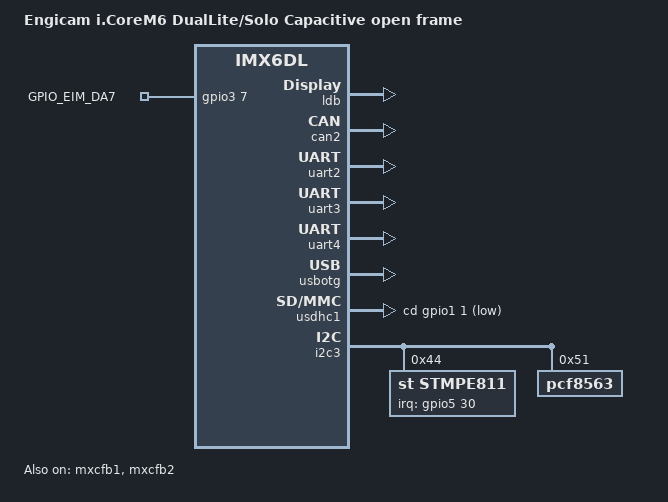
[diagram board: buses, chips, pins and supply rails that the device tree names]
/*
 * Copyright (C) 2013 Freescale Semiconductor, Inc.
 *
 * This program is free software; you can redistribute it and/or modify
 * it under the terms of the GNU General Public License version 2 as
 * published by the Free Software Foundation.
 */

/dts-v1/;

#include "imx6dl.dtsi"
#include "imx6qdl-icore.dtsi"

/ {
	model = "Engicam i.CoreM6 DualLite/Solo Capacitive open frame";
	compatible = "fsl,imx6-icore", "fsl,imx6dl";

	gpio_export {
		compatible = "gpio-export";
		#size-cells = <0>;
		
		GPIO_EIM_DA7 {
			gpio-export,name = "GPIO_EIM_DA7";
			gpio-export,input = <1>;
			gpios = <&gpio3 7 0>;
		};				
	};

	codec: codec {
		status = "disabled";
	};
};

&ldb {
	status = "okay";

	lvds-channel@0 {
		fsl,data-mapping = "spwg";
		fsl,data-width = <18>;
		status = "okay";
		crtc = "ipu1-di0";
		primary;

		display-timings {
                        native-mode = <&timing1>;
                        timing1: hsd100pxn1 {
                                clock-frequency = <60000000>;
                                hactive = <1024>;
                                vactive = <600>;
                                hback-porch = <353>;
                                hfront-porch = <47>;
                                vback-porch = <39>;
                                vfront-porch = <4>;
                                hsync-len = <8>;
                                vsync-len = <2>;
                        };
                };
	};
};

&mxcfb1 {
	interface_pix_fmt = "RGB666";
	default_bpp = <16>;
	mode_str ="Amp-WD";
	status = "okay";
};

&mxcfb2 {
	status = "okay";
};

&can2 {
	status = "okay";
};

&uart2 {
	status = "okay";
};

&uart3 {
	status = "okay";
};

&uart4 {
	status = "okay";
};

&usbotg {
	status = "okay";
};

&usdhc1 {
	cd-gpios = <&gpio1 1 GPIO_ACTIVE_LOW>;
	status = "okay";
};

&i2c3 {
	stmpe811@44 {
		compatible = "st,stmpe811";
		#address-cells = <1>;
		#size-cells = <0>;
		#interrupt-cells = <2>;
		reg = <0x44>;
		pinctrl-names = "default";		
		pinctrl-0 = <&pinctrl_stmpe_ts>;		
		interrupts = <30 2>;
		interrupt-parent = <&gpio5>;

		stmpe_touchscreen {
			compatible = "st,stmpe-ts";
			st,sample-time = <4>;
			st,mod-12b = <1>;
			st,ref-sel = <0>;
			st,adc-freq = <1>;
			st,ave-ctrl = <1>;
			st,touch-det-delay = <2>;
			st,settling = <2>;
			st,fraction-z = <7>;
			st,i-drive = <1>;
		};
	};
	
	pcf8563: rtc@51 {
		compatible = "pcf8563";
		reg = <0x51>;
	};
};

&iomuxc {
	touchpanel{
		pinctrl_stmpe_ts:  stmpe-tsgrp  {
			fsl,pins = <
				MX6QDL_PAD_CSI0_DAT12__GPIO5_IO30 0x1b0b0 /*interrupt*/ 
			>;
		};
	};
};

&iomuxc {
	hog {
		pinctrl_hog: hoggrp {
			fsl,pins = <
				MX6QDL_PAD_EIM_DA7__GPIO3_IO07 0x1f059 /* EIM_DA07 forced to GPIO in */
				MX6QDL_PAD_GPIO_1__GPIO1_IO01  0x1f059 /*CD SD CARD*/
			>;
		};
	};
};
